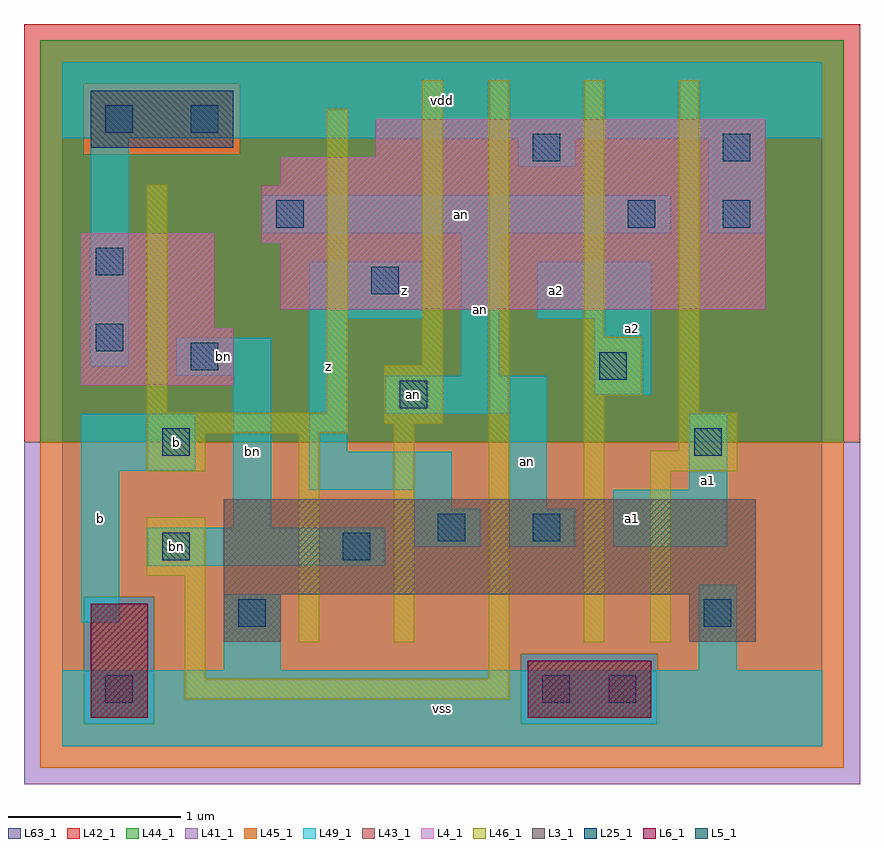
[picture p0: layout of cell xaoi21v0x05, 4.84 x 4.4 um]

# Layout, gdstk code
import gdstk
lib = gdstk.Library(unit=1e-6, precision=1e-09)
def R(c, l, rs):  # rectangles x0, y0, x1, y1
    for r in rs: c.add(gdstk.rectangle(r[:2], r[2:], *l))
L3_1 = (3, 1)
L4_1 = (4, 1)
L5_1 = (5, 1)
L6_1 = (6, 1)
L25_1 = (25, 1)
L41_1 = (41, 1)
L42_1 = (42, 1)
L43_1 = (43, 1)
L44_1 = (44, 1)
L45_1 = (45, 1)
L46_1 = (46, 1)
L49_1 = (49, 1)
L63_1 = (63, 1)

xaoi21v0x05 = lib.new_cell('xaoi21v0x05')
R(xaoi21v0x05, L3_1, [(0.935,0.605,1.265,0.88), (3.63,0.605,4.015,0.88), (0.935,0.88,4.015,1.43)])
R(xaoi21v0x05, L4_1, [(0.11,2.09,0.99,2.42), (0.11,2.42,0.88,2.97), (1.265,2.53,4.07,2.915), (1.155,2.915,4.07,3.245), (1.265,3.245,4.07,3.41), (1.815,3.41,4.07,3.63)])
R(xaoi21v0x05, L5_1, [(0.165,3.465,0.99,3.795)])
R(xaoi21v0x05, L6_1, [(0.165,0.165,0.495,0.825), (2.695,0.165,3.41,0.495)])
R(xaoi21v0x05, L25_1, [(0.25,0.25,0.41,0.41), (2.78,0.25,2.94,0.41), (3.165,0.25,3.325,0.41), (1.02,0.69,1.18,0.85), (3.715,0.69,3.875,0.85), (0.58,1.075,0.74,1.235), (1.625,1.075,1.785,1.235), (2.175,1.185,2.335,1.345), (2.725,1.185,2.885,1.345), (0.58,1.68,0.74,1.84), (3.66,1.68,3.82,1.84), (1.955,1.955,2.115,2.115), (3.11,2.12,3.27,2.28), (0.745,2.175,0.905,2.335), (0.195,2.285,0.355,2.445), (1.79,2.615,1.95,2.775), (0.195,2.725,0.355,2.885), (1.24,3,1.4,3.16), (3.275,3,3.435,3.16), (3.825,3,3.985,3.16), (2.725,3.385,2.885,3.545), (3.825,3.385,3.985,3.545), (0.25,3.55,0.41,3.71), (0.745,3.55,0.905,3.71)])
R(xaoi21v0x05, L41_1, [(-0.22,-0.22,4.62,1.76)])
R(xaoi21v0x05, L42_1, [(-0.22,1.76,4.62,4.18)])
R(xaoi21v0x05, L43_1, [(0.165,0.165,0.495,0.825), (2.695,0.165,3.41,0.495), (0.935,0.605,1.265,0.88), (3.63,0.605,4.015,0.88), (0.935,0.88,4.015,1.43), (0.11,2.09,0.99,2.42), (0.11,2.42,0.88,2.97), (1.265,2.53,4.07,2.915), (1.155,2.915,4.07,3.245), (1.265,3.245,4.07,3.41), (1.815,3.41,4.07,3.63), (0.165,3.465,0.99,3.795)])
R(xaoi21v0x05, L44_1, [(0.125,0.125,0.535,0.865), (2.655,0.125,3.45,0.535), (-0.125,1.76,4.525,3.425), (-0.125,3.425,0.125,3.835), (1.03,3.425,4.525,3.835), (-0.125,3.835,4.525,4.085)])
R(xaoi21v0x05, L45_1, [(-0.125,-0.125,4.525,0.125), (-0.125,0.125,0.125,0.865), (0.535,0.125,2.655,0.535), (3.45,0.125,4.525,0.535), (0.535,0.535,4.525,0.865), (-0.125,0.865,4.525,1.76), (0.125,3.425,1.03,3.835)])
R(xaoi21v0x05, L46_1, [(0.71,0.27,2.59,0.39), (0.71,0.39,0.83,0.985), (2.47,0.39,2.59,3.855), (1.37,0.6,1.49,1.81), (1.92,0.6,2.04,1.865), (3.02,0.6,3.14,2.03), (3.405,0.6,3.525,1.59), (0.49,0.985,0.83,1.325), (0.49,1.59,0.83,1.81), (3.405,1.59,3.91,1.71), (3.57,1.71,3.91,1.93), (0.49,1.81,1.655,1.93), (1.865,1.865,2.205,2.205), (0.49,1.93,0.61,3.25), (1.535,1.93,1.655,3.69), (3.57,1.93,3.69,3.855), (3.02,2.03,3.36,2.37), (2.085,2.205,2.205,3.855), (3.02,2.37,3.14,3.855)])
R(xaoi21v0x05, L49_1, [(0,0,4.4,0.44), (0.935,0.44,1.265,0.88), (3.685,0.44,3.905,0.935), (0.11,0.715,0.33,1.595), (0.495,1.045,1.87,1.265), (2.035,1.155,2.42,1.375), (2.585,1.155,2.97,1.375), (3.19,1.155,3.85,1.485), (0.99,1.265,1.21,2.145), (2.035,1.375,2.255,1.485), (2.585,1.375,2.805,1.925), (1.43,1.485,2.255,1.705), (3.63,1.485,3.85,1.925), (0.11,1.595,0.77,1.925), (1.43,1.705,1.65,2.475), (1.87,1.925,2.805,2.145), (3.08,2.035,3.41,2.475), (0.66,2.145,1.21,2.365), (2.31,2.145,2.53,2.97), (0.165,2.2,0.385,3.52), (1.43,2.475,2.09,2.805), (2.75,2.475,3.41,2.805), (1.155,2.97,3.52,3.19), (3.74,2.97,4.07,3.52), (2.64,3.355,2.97,3.52), (0,3.52,4.4,3.96)])
R(xaoi21v0x05, L63_1, [(0,0,4.4,3.96)])
xaoi21v0x05.add(gdstk.Label('bn', (0.66,1.155), layer=49, texttype=1))
xaoi21v0x05.add(gdstk.Label('an', (2.035,2.035), layer=49, texttype=1))
xaoi21v0x05.add(gdstk.Label('b', (0.66,1.76), layer=49, texttype=1))
xaoi21v0x05.add(gdstk.Label('b', (0.22,1.32), layer=49, texttype=1))
xaoi21v0x05.add(gdstk.Label('z', (1.54,2.2), layer=49, texttype=1))
xaoi21v0x05.add(gdstk.Label('bn', (1.1,1.705), layer=49, texttype=1))
xaoi21v0x05.add(gdstk.Label('bn', (0.935,2.255), layer=49, texttype=1))
xaoi21v0x05.add(gdstk.Label('z', (1.98,2.64), layer=49, texttype=1))
xaoi21v0x05.add(gdstk.Label('vss', (2.2,0.22), layer=49, texttype=1))
xaoi21v0x05.add(gdstk.Label('an', (2.695,1.65), layer=49, texttype=1))
xaoi21v0x05.add(gdstk.Label('a2', (2.86,2.64), layer=49, texttype=1))
xaoi21v0x05.add(gdstk.Label('an', (2.42,2.53), layer=49, texttype=1))
xaoi21v0x05.add(gdstk.Label('vdd', (2.2,3.74), layer=49, texttype=1))
xaoi21v0x05.add(gdstk.Label('a1', (3.3,1.32), layer=49, texttype=1))
xaoi21v0x05.add(gdstk.Label('a1', (3.74,1.54), layer=49, texttype=1))
xaoi21v0x05.add(gdstk.Label('a2', (3.3,2.42), layer=49, texttype=1))
xaoi21v0x05.add(gdstk.Label('an', (2.31,3.08), layer=49, texttype=1))

lib.write_gds('xaoi21v0x05.gds')
